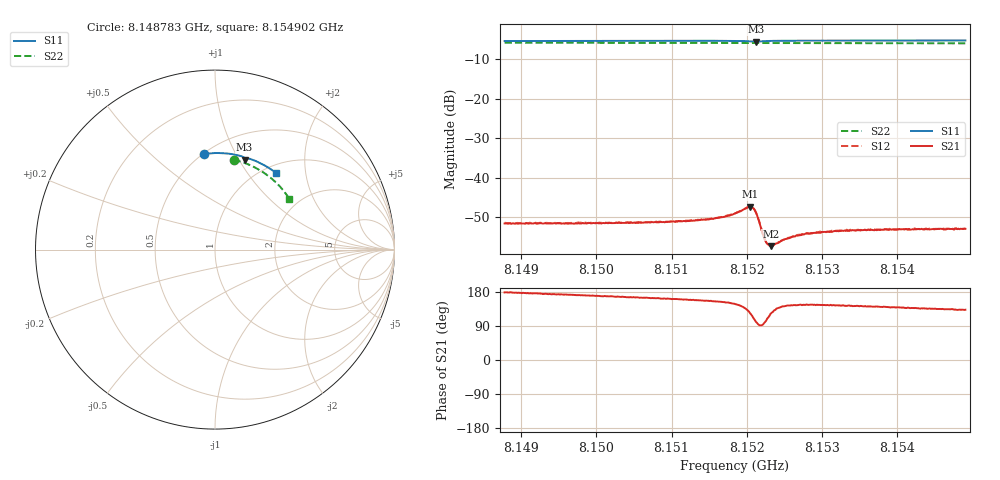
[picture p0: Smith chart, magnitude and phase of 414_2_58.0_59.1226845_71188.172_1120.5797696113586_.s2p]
#  HZ  S  RI  R  50.00
! Rohde & Schwarz Vector Network Analyzer
! Rohde-Schwarz,ZNB20-2Port,1311601062101988,3.16
! Created: UTC 3/21/2024, 1:08:52 AM
! freq[Hz]  re:S11  im:S11  re:S21  im:S21  re:S12  im:S12  re:S22  im:S22
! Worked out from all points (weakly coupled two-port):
!   401 points, 8.148783 GHz to 8.154902 GHz, reference 50 ohm
!   highest |S21| = -47.38 dB at 8.152042 GHz (marker M1); lowest = -57.4 dB at 8.152317 GHz (marker M2)
!   lowest |S11| = -5.5 dB at 8.152118 GHz (marker M3), VSWR 3.24, Z = 38 + j52.9 ohm
!   |S11| at or under -10 dB: nowhere
!   |S22| runs from -6.0 to -5.8 dB; largest |S21 - S12| = 0.00012
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8.1487832e9  -0.059 0.5333  -0.00262 7.43e-05  -0.00267 0.000105  0.1035 0.5007
8.1498082e9  0.0123 0.5382  -0.0026 0.000405  -0.00262 0.00048  0.1671 0.4818
8.1508331e9  0.0836 0.5334  -0.00259 0.000792  -0.00263 0.000886  0.2271 0.4549
8.1514757e9  0.1284 0.5253  -0.00269 0.00119  -0.00271 0.00125  0.2626 0.4343
8.1517051e9  0.145 0.5208  -0.00284 0.00147  -0.00286 0.00153  0.2748 0.4262
8.1518428e9  0.1552 0.517  -0.00297 0.00187  -0.00295 0.00193  0.282 0.4211
8.1519958e9  0.1659 0.509  -0.00282 0.00297  -0.00282 0.00305  0.2901 0.4152
8.1520417e9  0.1674 0.5052  -0.00238 0.00355  -0.00234 0.00358  0.2921 0.4134
8.1520876e9  0.1664 0.5021  -0.00143 0.00382  -0.00141 0.00384  0.2945 0.4118
8.1521182e9  0.1648 0.5019  -0.000734 0.00359  -0.000702 0.00361  0.2957 0.4107
8.1521488e9  0.1639 0.5033  -0.00025 0.00305  -0.000189 0.00305  0.2972 0.4096
8.15221e9  0.1663 0.5072  -9.75e-05 0.00194  -0.000134 0.00194  0.3003 0.4074
8.1522406e9  0.1688 0.5084  -0.00027 0.00159  -0.000261 0.00163  0.3018 0.4062
8.1522712e9  0.1714 0.509  -0.000478 0.00136  -0.000468 0.00137  0.3033 0.4051
8.1523171e9  0.1755 0.5094  -0.000728 0.00114  -0.000703 0.00119  0.3059 0.4034
8.1523783e9  0.1805 0.5089  -0.00097 0.00107  -0.001 0.00105  0.3088 0.401
8.1524854e9  0.189 0.5071  -0.00128 0.00102  -0.00126 0.00102  0.3142 0.3965
8.1526536e9  0.2012 0.5033  -0.0015 0.00107  -0.0015 0.00105  0.3223 0.3896
8.1528678e9  0.2157 0.4981  -0.00165 0.0011  -0.00161 0.00111  0.3325 0.3807
8.1533421e9  0.2462 0.4847  -0.0017 0.00126  -0.0017 0.0013  0.3538 0.3596
8.1538928e9  0.28 0.4669  -0.00165 0.00142  -0.0017 0.00146  0.3771 0.3339
8.1549025e9  0.3382 0.4284  -0.00152 0.00165  -0.00151 0.00169  0.4145 0.2831
